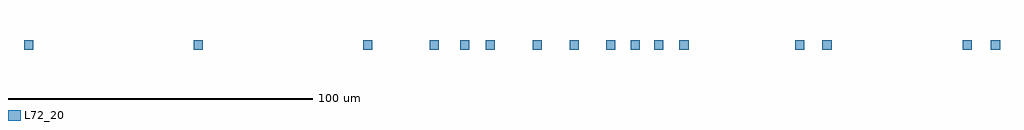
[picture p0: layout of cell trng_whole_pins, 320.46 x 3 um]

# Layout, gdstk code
import gdstk
lib = gdstk.Library(unit=1e-6, precision=1e-09)
def R(c, l, rs):  # rectangles x0, y0, x1, y1
    for r in rs: c.add(gdstk.rectangle(r[:2], r[2:], *l))
def A(c, l, x, y, w, h, nx, ny, dx, dy):  # array of equal rectangles
    R(c, l, [(x+i*dx, y+j*dy, x+i*dx+w, y+j*dy+h) for i in range(nx) for j in range(ny)])
L72_20 = (72, 20)

trng_whole_pins = lib.new_cell('trng_whole_pins')
A(trng_whole_pins, L72_20, 4.07, 330.5, 3, 3, 3, 1, 55.66, 0)
R(trng_whole_pins, L72_20, [(137.27,330.5,140.27,333.5), (147.27,330.5,150.27,333.5), (155.63,330.5,158.63,333.5), (171.05,330.5,174.05,333.5), (183.27,330.5,186.27,333.5), (195.27,330.5,198.27,333.5), (203.27,330.5,206.27,333.5), (210.93,330.5,213.93,333.5), (219.27,330.5,222.27,333.5), (257.27,330.5,260.27,333.5), (266.23,330.5,269.23,333.5), (312.27,330.5,315.27,333.5), (321.53,330.5,324.53,333.5)])

lib.write_gds('trng_whole_pins.gds')
